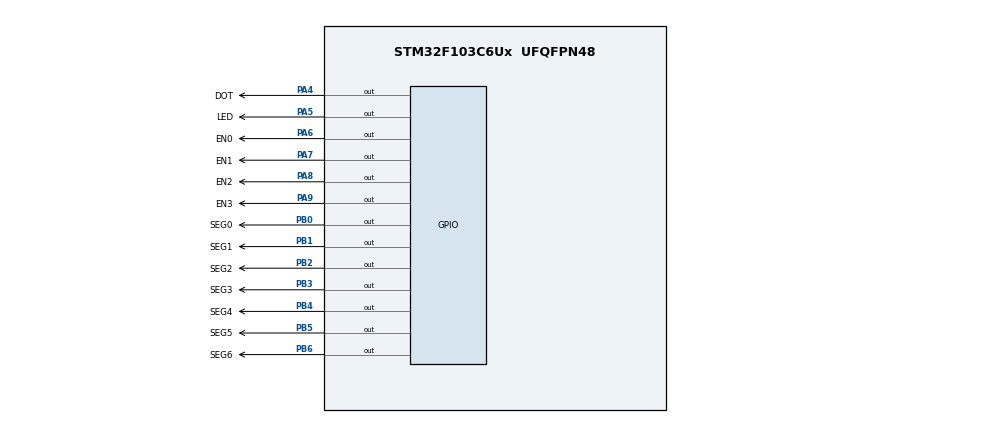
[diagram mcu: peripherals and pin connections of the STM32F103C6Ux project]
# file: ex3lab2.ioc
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Mcu.Family=STM32F1
Mcu.Name=STM32F103C6Ux
Mcu.Package=UFQFPN48
NVIC.PriorityGroup=NVIC_PRIORITYGROUP_4
NVIC.TIM2_IRQn=true\:0\:0\:false\:false\:true\:true\:true
PA4.GPIO_Label=DOT
PA4.Signal=GPIO_Output
PA5.GPIO_Label=LED
PA5.Signal=GPIO_Output
PA6.GPIO_Label=EN0
PA6.Signal=GPIO_Output
PA7.GPIO_Label=EN1
PA7.Signal=GPIO_Output
PA8.GPIO_Label=EN2
PA8.Signal=GPIO_Output
PA9.GPIO_Label=EN3
PA9.Signal=GPIO_Output
PB0.GPIO_Label=SEG0
PB0.Signal=GPIO_Output
PB1.GPIO_Label=SEG1
PB1.Signal=GPIO_Output
PB2.GPIO_Label=SEG2
PB2.Signal=GPIO_Output
PB3.GPIO_Label=SEG3
PB3.Signal=GPIO_Output
PB4.GPIO_Label=SEG4
PB4.Signal=GPIO_Output
PB5.GPIO_Label=SEG5
PB5.Signal=GPIO_Output
PB6.GPIO_Label=SEG6
PB6.Signal=GPIO_Output
ProjectManager.HeapSize=0x200
ProjectManager.StackSize=0x400
ProjectManager.TargetToolchain=STM32CubeIDE
RCC.APB1Freq_Value=8000000
RCC.APB2Freq_Value=8000000
TIM2.Period=9
TIM2.Prescaler=7999
VP_SYS_VS_ND.Mode=No_Debug
VP_TIM2_VS_ClockSourceINT.Mode=Internal
board=custom

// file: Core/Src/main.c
/* USER CODE BEGIN Header */
/**
  ******************************************************************************
  * @file           : main.c
  * @brief          : Lab 2 - Exercise 3: Array-based 4 Seven Segment LED Scanning
  ******************************************************************************
  */
/* USER CODE END Header */

#include "main.h"

TIM_HandleTypeDef htim2;

/* USER CODE BEGIN PV */
// Biến đếm thời gian (Cấu hình chuẩn 500ms)
int timer_counter = 50; // 50 x 10ms = 500ms chuyển LED (Tổng chu kỳ 4 LED = 2s)
int dot_counter = 50;   // 50 x 10ms = 500ms (Đảo trạng thái DOT mỗi 0.5s -> Chu kỳ chớp tắt = 1s)

// Khai báo theo yêu cầu Exercise 3
int index_led = 0;
int led_buffer[4] = {1, 2, 3, 0}; // Mảng lưu trữ giá trị hiển thị cho 4 LED (12:30)
/* USER CODE END PV */

void SystemClock_Config(void);
static void MX_GPIO_Init(void);
static void MX_TIM2_Init(void);
void display7SEG(int num);
void update7SEG(int index);

/* USER CODE BEGIN 0 */
// Hàm xuất mã 7 đoạn Anode chung lên PB0 -> PB6
void display7SEG(int num) {
    uint8_t segmentNumber[10] = {
        0b00111111, // 0
        0b00000110, // 1
        0b01011011, // 2
        0b01001111, // 3
        0b01100110, // 4
        0b01101101, // 5
        0b01111101, // 6
        0b00000111, // 7
        0b01111111, // 8
        0b01101111  // 9
    };

    if (num >= 0 && num <= 9) {
        uint8_t data = ~segmentNumber[num]; // Đảo bit cho Anode chung (LOW là SÁNG)
        for (int i = 0; i < 7; i++) {
            HAL_GPIO_WritePin(GPIOB, GPIO_PIN_0 << i, (data >> i) & 0x01);
        }
    }
}

// Hàm update7SEG theo đúng yêu cầu Exercise 3
void update7SEG(int index) {
    // Bước 1: Tắt tất cả 4 Transistor PNP trước (Khóa mức HIGH) để chống lem màu/bóng ma
    HAL_GPIO_WritePin(GPIOA, GPIO_PIN_6 | GPIO_PIN_7 | GPIO_PIN_8 | GPIO_PIN_9, GPIO_PIN_SET);

    // Bước 2: Hiển thị giá trị từ mảng led_buffer[index] và Bật chân EN tương ứng (Kích mức LOW)
    switch (index) {
        case 0:
            display7SEG(led_buffer[0]);
            HAL_GPIO_WritePin(GPIOA, GPIO_PIN_6, GPIO_PIN_RESET); // PA6 - EN0
            break;
        case 1:
            display7SEG(led_buffer[1]);
            HAL_GPIO_WritePin(GPIOA, GPIO_PIN_7, GPIO_PIN_RESET); // PA7 - EN1
            break;
        case 2:
            display7SEG(led_buffer[2]);
            HAL_GPIO_WritePin(GPIOA, GPIO_PIN_8, GPIO_PIN_RESET); // PA8 - EN2
            break;
        case 3:
            display7SEG(led_buffer[3]);
            HAL_GPIO_WritePin(GPIOA, GPIO_PIN_9, GPIO_PIN_RESET); // PA9 - EN3
            break;
        default:
            break;
    }
}
/* USER CODE END 0 */

int main(void)
{
  HAL_Init();
  SystemClock_Config();

  MX_GPIO_Init();
  MX_TIM2_Init();

  /* Kích hoạt Ngắt Timer 2 */
  HAL_TIM_Base_Start_IT(&htim2);

  while (1)
  {
    /* Toàn bộ xử lý hiển thị chạy trong ngắt Timer */
  }
}

void SystemClock_Config(void)
{
  RCC_OscInitTypeDef RCC_OscInitStruct = {0};
  RCC_ClkInitTypeDef RCC_ClkInitStruct = {0};

  RCC_OscInitStruct.OscillatorType = RCC_OSCILLATORTYPE_HSI;
  RCC_OscInitStruct.HSIState = RCC_HSI_ON;
  RCC_OscInitStruct.HSICalibrationValue = RCC_HSICALIBRATION_DEFAULT;
  RCC_OscInitStruct.PLL.PLLState = RCC_PLL_NONE;
  if (HAL_RCC_OscConfig(&RCC_OscInitStruct) != HAL_OK)
  {
    Error_Handler();
  }

  RCC_ClkInitStruct.ClockType = RCC_CLOCKTYPE_HCLK|RCC_CLOCKTYPE_SYSCLK
                              |RCC_CLOCKTYPE_PCLK1|RCC_CLOCKTYPE_PCLK2;
  RCC_ClkInitStruct.SYSCLKSource = RCC_SYSCLKSOURCE_HSI;
  RCC_ClkInitStruct.AHBCLKDivider = RCC_SYSCLK_DIV1;
  RCC_ClkInitStruct.APB1CLKDivider = RCC_HCLK_DIV1;
  RCC_ClkInitStruct.APB2CLKDivider = RCC_HCLK_DIV1;

  if (HAL_RCC_ClockConfig(&RCC_ClkInitStruct, FLASH_LATENCY_0) != HAL_OK)
  {
    Error_Handler();
  }
}

static void MX_TIM2_Init(void)
{
  TIM_ClockConfigTypeDef sClockSourceConfig = {0};
  TIM_MasterConfigTypeDef sMasterConfig = {0};

  htim2.Instance = TIM2;
  htim2.Init.Prescaler = 7999; // 8MHz / 8000 = 1000Hz (1ms)
  htim2.Init.CounterMode = TIM_COUNTERMODE_UP;
  htim2.Init.Period = 9;       // Ngắt mỗi 10ms
  htim2.Init.ClockDivision = TIM_CLOCKDIVISION_DIV1;
  htim2.Init.AutoReloadPreload = TIM_AUTORELOAD_PRELOAD_DISABLE;
  if (HAL_TIM_Base_Init(&htim2) != HAL_OK)
  {
    Error_Handler();
  }
  sClockSourceConfig.ClockSource = TIM_CLOCKSOURCE_INTERNAL;
  if (HAL_TIM_ConfigClockSource(&htim2, &sClockSourceConfig) != HAL_OK)
  {
    Error_Handler();
  }
  sMasterConfig.MasterOutputTrigger = TIM_TRGO_RESET;
  sMasterConfig.MasterSlaveMode = TIM_MASTERSLAVEMODE_DISABLE;
  if (HAL_TIMEx_MasterConfigSynchronization(&htim2, &sMasterConfig) != HAL_OK)
  {
    Error_Handler();
  }
}

static void MX_GPIO_Init(void)
{
  GPIO_InitTypeDef GPIO_InitStruct = {0};

  /* Enable Clocks */
  __HAL_RCC_GPIOA_CLK_ENABLE();
  __HAL_RCC_GPIOB_CLK_ENABLE();
  __HAL_RCC_AFIO_CLK_ENABLE();

  /* Tắt JTAG để giải phóng PB3 và PB4 làm chân GPIO chuẩn */
  __HAL_AFIO_REMAP_SWJ_NOJTAG();

  /* Mặc định tắt 4 Transistor PNP (Xuất HIGH) và tắt LED DOT (PA4) */
  HAL_GPIO_WritePin(GPIOA, GPIO_PIN_4 | GPIO_PIN_5, GPIO_PIN_RESET);
  HAL_GPIO_WritePin(GPIOA, GPIO_PIN_6 | GPIO_PIN_7 | GPIO_PIN_8 | GPIO_PIN_9, GPIO_PIN_SET);

  /* Mặc định tắt dữ liệu bus 7 đoạn */
  HAL_GPIO_WritePin(GPIOB, GPIO_PIN_0 | GPIO_PIN_1 | GPIO_PIN_2 | GPIO_PIN_3
                          | GPIO_PIN_4 | GPIO_PIN_5 | GPIO_PIN_6, GPIO_PIN_RESET);

  /* Configure GPIO pins : PA4 (DOT), PA5 (LED), PA6 (EN0), PA7 (EN1), PA8 (EN2), PA9 (EN3) */
  GPIO_InitStruct.Pin = GPIO_PIN_4 | GPIO_PIN_5 | GPIO_PIN_6 | GPIO_PIN_7 | GPIO_PIN_8 | GPIO_PIN_9;
  GPIO_InitStruct.Mode = GPIO_MODE_OUTPUT_PP;
  GPIO_InitStruct.Pull = GPIO_NOPULL;
  GPIO_InitStruct.Speed = GPIO_SPEED_FREQ_LOW;
  HAL_GPIO_Init(GPIOA, &GPIO_InitStruct);

  /* Configure GPIO pins : PB0 -> PB6 (SEG0 -> SEG6) */
  GPIO_InitStruct.Pin = GPIO_PIN_0 | GPIO_PIN_1 | GPIO_PIN_2 | GPIO_PIN_3
                          | GPIO_PIN_4 | GPIO_PIN_5 | GPIO_PIN_6;
  GPIO_InitStruct.Mode = GPIO_MODE_OUTPUT_PP;
  GPIO_InitStruct.Pull = GPIO_NOPULL;
  GPIO_InitStruct.Speed = GPIO_SPEED_FREQ_LOW;
  HAL_GPIO_Init(GPIOB, &GPIO_InitStruct);
}

/* USER CODE BEGIN 4 */
// Callback ngắt Timer 2 (Tần số 10ms/lần)
void HAL_TIM_PeriodElapsedCallback(TIM_HandleTypeDef *htim) {
    if (htim->Instance == TIM2) {

        // 1. Quét luân phiên 4 LED 7-đoạn theo hàm update7SEG
        timer_counter--;
        if (timer_counter <= 0) {
            timer_counter = 50; // Reset thời gian chuyển LED (500ms)

            update7SEG(index_led); // Gọi hàm hiển thị theo index hiện tại
            index_led++;
            if (index_led >= 4) {
                index_led = 0; // Quay về LED đầu tiên
            }
        }

        // 2. Chớp tắt 2 LED DOT ở chân PA4 (Chu kỳ 1s)
        dot_counter--;
        if (dot_counter <= 0) {
            dot_counter = 50; // Reset 500ms
            HAL_GPIO_TogglePin(GPIOA, GPIO_PIN_4); // Đảo trạng thái PA4
        }
    }
}
/* USER CODE END 4 */

void Error_Handler(void)
{
  __disable_irq();
  while (1)
  {
  }
}
